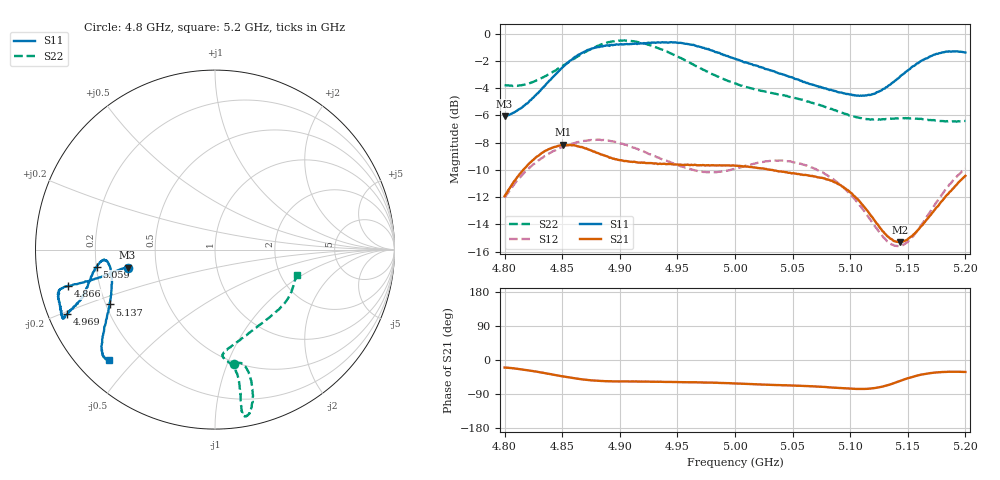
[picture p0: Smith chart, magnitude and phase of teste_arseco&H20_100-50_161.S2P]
! Network Analyzer HP8722D
! Hewlett-Packard
! Data name: Linha & Wilkinson
! Saver's name: Rodrigo Anjos
! Comments: Teste da utilização de aquisição
! continua pelo VNA HP8722D
! Time and date: 6/5/2025 13:54
!  Frequency  S11  S21  S12  S22
# HZ  S  MA R 50
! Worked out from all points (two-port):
!   401 points, 4.8 GHz to 5.2 GHz, reference 50 ohm
!   highest |S21| = -8.16 dB at 4.851 GHz (marker M1); lowest = -15.3 dB at 5.143 GHz (marker M2)
!   |S21| within 3 dB of the highest: 4.806 GHz to 5.092 GHz (286.4 MHz wide, 5.79 % of centre); 5.19155 GHz to end of sweep
!   lowest |S11| = -6.1 dB at 4.8 GHz (marker M3), VSWR 2.98, Z = 16.9 - j4.53 ohm
!   |S11| at or under -10 dB: nowhere
!   |S22| runs from -6.5 to -0.5 dB; largest |S21 - S12| = 0.62
!   S11 on the Smith chart (normalised r, x): 4.8 GHz: 0.34, -0.09; 4.866 GHz: 0.09, -0.12; 4.969 GHz: 0.06, -0.21; 5.059 GHz: 0.20, -0.07; 5.137 GHz: 0.22, -0.23; 5.2 GHz: 0.09, -0.42
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4.8e9  0.4975 -168.3  0.2532 -19.9  0.2499 -141.1  0.6476 -80.4
4.823e9  0.5717 -167.6  0.3385 -28.4  0.3254 -144.0  0.6616 -76.0
4.851e9  0.7577 -166.0  0.3909 -43.6  0.3842 -149.5  0.7646 -74.6
4.866e9  0.844 -166.1  0.3834 -50.6  0.4014 -152.1  0.8376 -75.4
4.867e9  0.8493 -166.1  0.3838 -51.0  0.4025 -152.2  0.8438 -75.5
4.899e9  0.9125 -163.0  0.3438 -56.7  0.397 -156.8  0.9437 -79.1
4.914e9  0.9201 -159.7  0.3374 -56.6  0.3784 -157.3  0.9356 -80.3
4.934e9  0.9288 -156.6  0.3326 -57.6  0.3507 -155.8  0.8823 -80.5
4.969e9  0.8963 -156.5  0.3287 -59.1  0.3123 -147.5  0.7531 -79.7
5e9  0.8096 -159.1  0.3273 -61.9  0.3192 -137.4  0.6568 -81.3
5.036e9  0.7213 -165.8  0.3136 -66.1  0.3415 -134.5  0.6009 -85.7
5.059e9  0.6652 -171.6  0.303 -68.3  0.3307 -136.3  0.5714 -84.5
5.067e9  0.6502 -173.2  0.3006 -69.3  0.3224 -137.0  0.5573 -82.7
5.084e9  0.6206 -174.7  0.2887 -72.6  0.2947 -138.5  0.5294 -76.2
5.101e9  0.5983 -172.1  0.2598 -75.9  0.2545 -138.9  0.4992 -66.4
5.116e9  0.5969 -165.5  0.2207 -75.9  0.2117 -135.5  0.4855 -55.7
5.134e9  0.6473 -154.3  0.178 -64.9  0.1702 -120.5  0.4876 -43.3
5.137e9  0.6618 -152.5  0.1743 -62.1  0.1679 -116.7  0.4876 -41.5
5.143e9  0.6935 -149.4  0.1715 -55.6  0.1658 -108.9  0.4898 -38.0
5.154e9  0.7577 -144.6  0.1813 -44.4  0.1794 -94.9  0.4886 -32.4
5.174e9  0.8404 -138.7  0.2273 -33.0  0.2375 -80.4  0.4797 -23.9
5.2e9  0.8535 -133.7  0.3006 -31.6  0.3193 -77.0  0.4782 -17.5
